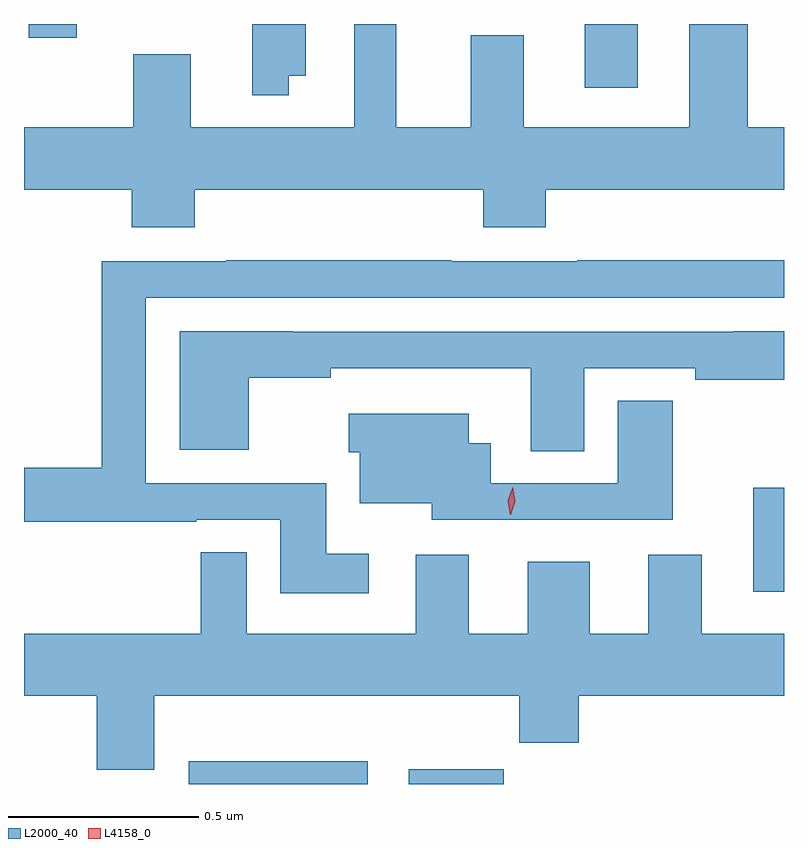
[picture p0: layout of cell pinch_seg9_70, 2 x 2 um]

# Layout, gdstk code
import gdstk
lib = gdstk.Library(unit=1e-6, precision=1e-09)
def R(c, l, rs):  # rectangles x0, y0, x1, y1
    for r in rs: c.add(gdstk.rectangle(r[:2], r[2:], *l))
def P(c, l, *ps):  # polygons
    for p in ps: c.add(gdstk.Polygon(p, *l))
L2000_40 = (2000, 40)
L4158_0 = (4158, 0)

pinch_seg9_70 = lib.new_cell('pinch_seg9_70')
R(pinch_seg9_70, L2000_40, [(1019.822,1192.192,1020.292,1192.252), (1020.401,1192.192,1020.65,1192.231), (1021.307,1192.698,1021.388,1192.971), (1020.863,1194.024,1021.003,1194.192), (1019.401,1194.156,1019.527,1194.192)])
P(pinch_seg9_70, L2000_40, [(1020.085,1194.056),(1020.13,1194.056),(1020.13,1194.192),(1019.988,1194.192),(1019.988,1194.005),(1020.085,1194.005)],
  [(1020.596,1193.657),(1020.761,1193.657),(1020.761,1193.756),(1021.388,1193.756),(1021.388,1193.92),(1021.292,1193.92),(1021.292,1194.192),(1021.139,1194.192),(1021.139,1193.92),(1020.703,1193.92),(1020.703,1194.163),(1020.563,1194.163),(1020.563,1193.92),(1020.367,1193.92),(1020.367,1194.192),(1020.257,1194.192),(1020.257,1193.92),(1019.827,1193.92),(1019.827,1194.112),(1019.675,1194.112),(1019.675,1193.92),(1019.388,1193.92),(1019.388,1193.756),(1019.672,1193.756),(1019.672,1193.657),(1019.837,1193.657),(1019.837,1193.756),(1020.596,1193.756)],
  [(1020.295,1192.798),(1020.184,1192.798),(1020.184,1192.983),(1019.709,1192.983),(1019.709,1193.472),(1021.388,1193.472),(1021.388,1193.57),(1020.844,1193.57),(1020.844,1193.568),(1020.512,1193.568),(1020.512,1193.57),(1019.92,1193.57),(1019.92,1193.568),(1019.593,1193.568),(1019.593,1193.024),(1019.388,1193.024),(1019.388,1192.882),(1019.841,1192.882),(1019.841,1192.887),(1020.062,1192.887),(1020.062,1192.694),(1020.295,1192.694)],
  [(1020.862,1193.286),(1021.155,1193.286),(1021.155,1193.256),(1021.388,1193.256),(1021.388,1193.383),(1021.255,1193.383),(1021.255,1193.382),(1020.095,1193.382),(1020.095,1193.383),(1019.798,1193.383),(1019.798,1193.072),(1019.98,1193.072),(1019.98,1193.261),(1020.195,1193.261),(1020.195,1193.286),(1020.722,1193.286),(1020.722,1193.068),(1020.862,1193.068)],
  [(1021.095,1193.201),(1020.95,1193.201),(1020.95,1192.983),(1020.616,1192.983),(1020.616,1193.089),(1020.559,1193.089),(1020.559,1193.167),(1020.242,1193.167),(1020.242,1193.065),(1020.272,1193.065),(1020.272,1192.931),(1020.461,1192.931),(1020.461,1192.887),(1021.095,1192.887)],
  [(1019.731,1192.424),(1020.691,1192.424),(1020.691,1192.3),(1020.848,1192.3),(1020.848,1192.424),(1021.388,1192.424),(1021.388,1192.588),(1021.171,1192.588),(1021.171,1192.795),(1021.031,1192.795),(1021.031,1192.588),(1020.877,1192.588),(1020.877,1192.777),(1020.713,1192.777),(1020.713,1192.588),(1020.559,1192.588),(1020.559,1192.795),(1020.419,1192.795),(1020.419,1192.588),(1019.974,1192.588),(1019.974,1192.802),(1019.853,1192.802),(1019.853,1192.588),(1019.388,1192.588),(1019.388,1192.424),(1019.579,1192.424),(1019.579,1192.23),(1019.731,1192.23)])
P(pinch_seg9_70, L4158_0, [(1020.668,1192.901),(1020.661,1192.938),(1020.674,1192.973),(1020.674,1192.973),(1020.674,1192.973),(1020.681,1192.936),(1020.669,1192.901),(1020.669,1192.901)])

lib.write_gds('pinch_seg9_70.gds')
